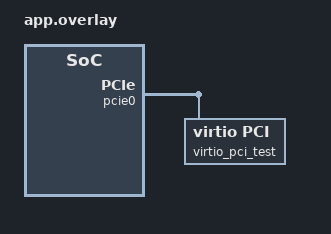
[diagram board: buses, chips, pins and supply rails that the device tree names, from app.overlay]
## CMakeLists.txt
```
# SPDX-FileCopyrightText: Copyright The Zephyr Project Contributors
# SPDX-License-Identifier: Apache-2.0

cmake_minimum_required(VERSION 3.28.0)
find_package(Zephyr COMPONENTS unittest REQUIRED HINTS $ENV{ZEPHYR_BASE})
project(virtio_pci_init_irq)

target_include_directories(testbinary PRIVATE
  ${ZEPHYR_BASE}/drivers/virtio
)

target_sources(testbinary PRIVATE src/main.c)
```

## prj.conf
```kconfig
# SPDX-FileCopyrightText: Copyright The Zephyr Project Contributors
# SPDX-License-Identifier: Apache-2.0

CONFIG_ZTEST=y
CONFIG_VIRTIO=y
CONFIG_VIRTIO_PCI=y
```

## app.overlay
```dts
/*
 * SPDX-FileCopyrightText: Copyright The Zephyr Project Contributors
 *
 * SPDX-License-Identifier: Apache-2.0
 */

#include <zephyr/dt-bindings/interrupt-controller/intel-ioapic.h>

&virtio_input_pci {
	status = "disabled";
};

&pcie0 {
	virtio_pci_test: virtio-pci-test {
		compatible = "virtio,pci";
		vendor-id = <0x1af4>;
		device-id = <0x10ff>;
		interrupts = <5 IRQ_TYPE_LOWEST_EDGE_RISING 3>;
		interrupt-parent = <&intc>;
		zephyr,deferred-init;
		status = "okay";
	};
};
```

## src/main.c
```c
/*
 * SPDX-FileCopyrightText: Copyright The Zephyr Project Contributors
 *
 * SPDX-License-Identifier: Apache-2.0
 */

#include <zephyr/fff.h>
#include <zephyr/ztest.h>

#include "virtio_pci_internal.h"

#define TEST_IRQ 5U

DEFINE_FFF_GLOBALS;
FAKE_VOID_FUNC(arch_irq_enable, unsigned int);

static void before(void *fixture)
{
	ARG_UNUSED(fixture);
	RESET_FAKE(arch_irq_enable);
}

ZTEST(virtio_pci_init_irq, test_failed_init_does_not_enable_irq)
{
	virtio_pci_enable_irq_on_success(1, TEST_IRQ);

	zassert_equal(arch_irq_enable_fake.call_count, 0U);
}

ZTEST(virtio_pci_init_irq, test_successful_init_enables_irq)
{
	virtio_pci_enable_irq_on_success(0, TEST_IRQ);

	zassert_equal(arch_irq_enable_fake.call_count, 1U);
	zassert_equal(arch_irq_enable_fake.arg0_val, TEST_IRQ);
}

ZTEST_SUITE(virtio_pci_init_irq, NULL, NULL, before, NULL, NULL);
```
